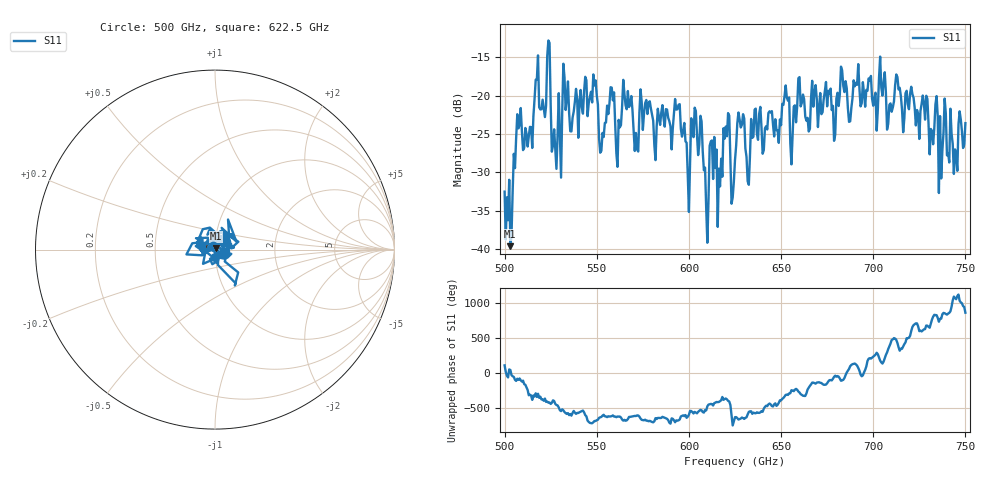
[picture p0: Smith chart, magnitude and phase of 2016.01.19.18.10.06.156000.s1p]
!Created with skrf (http://scikit-rf.org).
# GHz S RI R 50.0
!freq ReS11 ImS11
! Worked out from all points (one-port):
!   401 points, 500 GHz to 750 GHz, reference 50 ohm
!   lowest |S11| = -39.6 dB at 503.1 GHz (marker M1), VSWR 1.02, Z = 50.7 + j0.772 ohm
!   |S11| at or under -10 dB: start of sweep to end of sweep
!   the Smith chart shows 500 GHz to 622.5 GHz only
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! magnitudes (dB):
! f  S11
! 500 GHz  -32.5
! 503.1 GHz  -39.6
! 507.5 GHz  -24.3
! 513.8 GHz  -24.1
! 516.9 GHz  -17.9
! 523.8 GHz  -12.8
! 526.9 GHz  -24.4
! 531.2 GHz  -22.2
! 548.1 GHz  -17.2
! 552.5 GHz  -27.2
! 558.1 GHz  -19.0
! 562.5 GHz  -24.2
! 593.8 GHz  -21.8
! 599.4 GHz  -30.4
! 602.5 GHz  -25.4
! 606.9 GHz  -23.4
! 609.4 GHz  -34.7
! 620.6 GHz  -25.3
! 625 GHz  -28.4
! 628.1 GHz  -24.2
! 631.9 GHz  -31.2
! 653.1 GHz  -20.3
! 656.2 GHz  -25.3
! 660.6 GHz  -21.4
! 687.5 GHz  -23.4
! 718.8 GHz  -21.1
! 736.9 GHz  -30.8
! 750 GHz  -23.6
